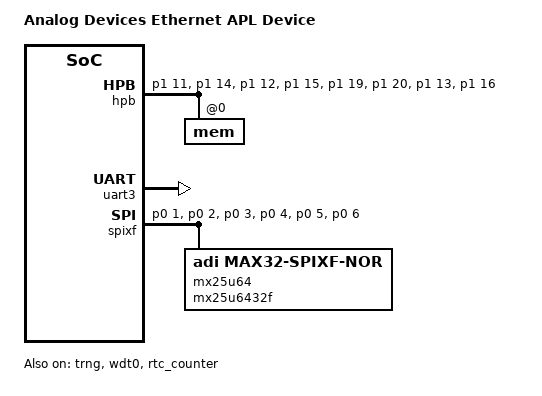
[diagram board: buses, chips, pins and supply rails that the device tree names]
/*
 * Copyright (c) 2025 Analog Devices, Inc.
 *
 * SPDX-License-Identifier: Apache-2.0
 */

#include "ethernet_apl_device_max32690_common.dtsi"

/ {
	model = "Analog Devices Ethernet APL Device";
	compatible = "adi,ethernet-apl-device";

	chosen {
		zephyr,console = &uart3;
		zephyr,shell-uart = &uart3;
		zephyr,sram = &m4_sram;
		zephyr,flash = &flash0;
		zephyr,code-partition = &m4_partition;
		zephyr,code-rv32-partition = &rv32_partition;
	};

	aliases {
		watchdog0 = &wdt0;
	};

	soc {
		/*
		 * Concatenate SRAM0 through SRAM7 for the M4
		 */
		m4_sram: memory@20000000 {
			compatible = "mmio-sram";
			reg = <0x20000000 DT_SIZE_M(1)>;
		};
	};

	sdram1: sdram1@60000000 {
		compatible = "zephyr,memory-region", "mmio-sram";
		status = "disabled";
		device_type = "memory";
		reg = <0x60000000 DT_SIZE_M(64)>;
		zephyr,memory-region = "SDRAM1";
	};
};

&hpb {
	pinctrl-0 = <&hyp_cs0n_p1_11 &hyp_rwds_p1_14 &hyp_d0_p1_12 &hyp_d1_p1_15
				 &hyp_d2_p1_19 &hyp_d3_p1_20 &hyp_d4_p1_13
				 &hyp_d5_p1_16 &hyp_d6_p1_18 &hyp_d7_p1_21>;
	pinctrl-names = "default";
	enable-emcc;

	mem@0 {
		reg = <0>;
		base-address = <0x60000000>;
		device-type = <ADI_MAX32_HPB_DEV_TYPE_HYPER_RAM>;

		latency-cycles = <ADI_MAX32_HPB_LAT_6>;
		read-cs-high = <ADI_MAX32_HPB_CS_HIGH_10_5>;
		write-cs-high = <ADI_MAX32_HPB_CS_HIGH_10_5>;
		read-cs-setup = <ADI_MAX32_HPB_CS_SETUP_HOLD_16>;
		write-cs-setup = <ADI_MAX32_HPB_CS_SETUP_HOLD_14>;
		read-cs-hold = <ADI_MAX32_HPB_CS_SETUP_HOLD_5>;
		write-cs-hold = <ADI_MAX32_HPB_CS_SETUP_HOLD_12>;

		/* CR0 settings. Key setting is enabling 6-clock latency, since
		 * HPB doesn't support 7-clock latency which is default
		 */
		config-regs =     <0x1000>;
		config-reg-vals = <0x801F>;
	};
};

&clk_ipo {
	status = "okay";
};

&clk_ibro {
	status = "okay";
};

&gpio0 {
	status = "okay";
};

&gpio1 {
	status = "okay";
};

&gpio2 {
	status = "okay";
};

&gpio3 {
	status = "okay";
};

&gpio4 {
	status = "okay";
};

&uart3 {
	status = "okay";
};

&trng {
	status = "okay";
};

&dma0 {
	status = "okay";
};

&wdt0 {
	status = "okay";
};

&rtc_counter {
	status = "okay";
};

/* Disabled, not available unti Zephyr 4.3 release. */
&spixf {
	pinctrl-0 = <&spixf_sdio0_p0_1 &spixf_sdio2_p0_2 &spixf_sck_p0_3
		     &spixf_sdio3_p0_4 &spixf_sdio1_p0_5 &spixf_ss0_p0_6>;
	pinctrl-names = "default";

	mx25u64: mx25u6432f@8000000 {
		compatible = "adi,max32-spixf-nor";
		reg = <0x08000000 DT_SIZE_M(8)>; /* 64 Mbits */
		qspi-max-frequency = <60000000>;
		jedec-id = [25 37 c2];
		reset-cmd;
		spi-bus-width = <4>;
		writeoc = "PP_1_1_4";
	};
};
